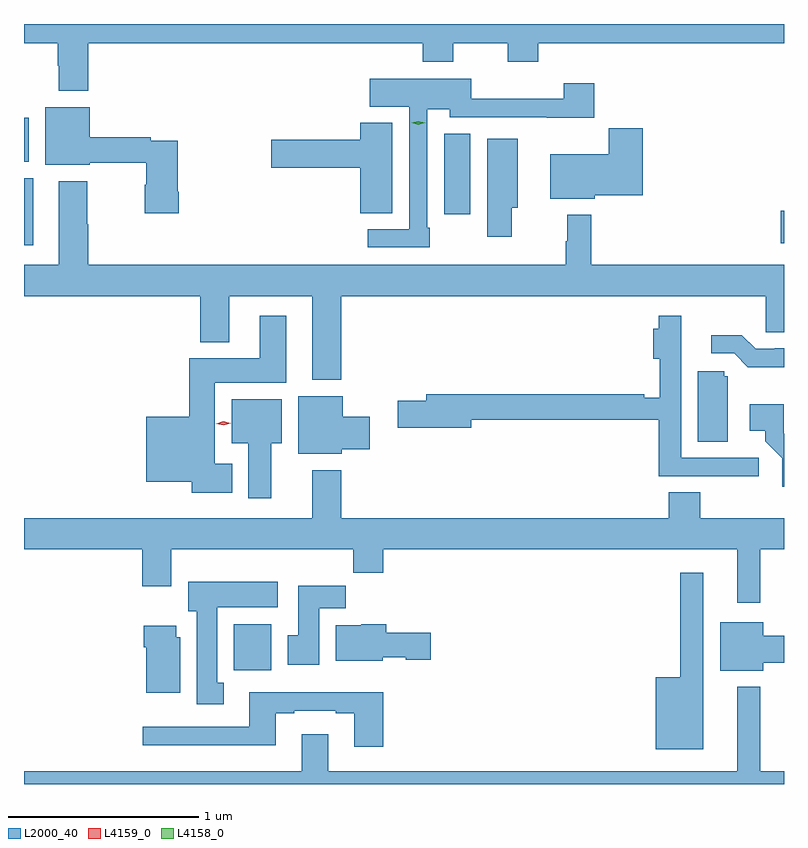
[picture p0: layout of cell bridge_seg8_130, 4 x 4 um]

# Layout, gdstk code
import gdstk
lib = gdstk.Library(unit=1e-6, precision=1e-09)
def R(c, l, rs):  # rectangles x0, y0, x1, y1
    for r in rs: c.add(gdstk.rectangle(r[:2], r[2:], *l))
def P(c, l, *ps):  # polygons
    for p in ps: c.add(gdstk.Polygon(p, *l))
L2000_40 = (2000, 40)
L4158_0 = (4158, 0)
L4159_0 = (4159, 0)

bridge_seg8_130 = lib.new_cell('bridge_seg8_130')
R(bridge_seg8_130, L2000_40, [(730.352,1095.884,730.549,1096.126), (729.247,1098.12,729.295,1098.472), (733.23,1098.131,733.247,1098.302), (731.459,1098.282,731.596,1098.707), (729.247,1098.56,729.271,1098.79)])
P(bridge_seg8_130, L2000_40, [(729.584,1099.184),(731.345,1099.184),(731.345,1099.085),(731.505,1099.085),(731.505,1099.184),(731.794,1099.184),(731.794,1099.085),(731.954,1099.085),(731.954,1099.184),(733.247,1099.184),(733.247,1099.284),(729.247,1099.284),(729.247,1099.184),(729.424,1099.184),(729.424,1099.064),(729.431,1099.064),(729.431,1098.932),(729.584,1098.932)],
  [(731.383,1098.211),(731.37,1098.211),(731.37,1098.836),(731.489,1098.836),(731.489,1098.792),(731.999,1098.792),(731.999,1098.791),(732.248,1098.791),(732.248,1098.973),(732.088,1098.973),(732.088,1098.89),(731.602,1098.89),(731.602,1098.997),(731.067,1098.997),(731.067,1098.848),(731.274,1098.848),(731.274,1098.204),(731.055,1098.204),(731.055,1098.108),(731.383,1098.108)],
  [(730.061,1098.4),(730.056,1098.4),(730.056,1098.669),(729.914,1098.669),(729.914,1098.689),(729.592,1098.689),(729.592,1098.847),(729.359,1098.847),(729.359,1098.542),(729.592,1098.542),(729.592,1098.553),(729.89,1098.553),(729.89,1098.438),(729.883,1098.438),(729.883,1098.288),(730.061,1098.288)],
  [(731.185,1098.763),(731.018,1098.763),(731.018,1098.674),(730.548,1098.674),(730.548,1098.527),(731.018,1098.527),(731.018,1098.289),(731.185,1098.289)],
  [(732.252,1098.383),(732.503,1098.383),(732.503,1098.736),(732.325,1098.736),(732.325,1098.598),(732.017,1098.598),(732.017,1098.365),(732.252,1098.365)],
  [(731.814,1098.317),(731.845,1098.317),(731.845,1098.679),(731.684,1098.679),(731.684,1098.165),(731.814,1098.165)],
  [(730.175,1097.609),(730.327,1097.609),(730.327,1097.852),(730.763,1097.852),(730.763,1097.411),(730.916,1097.411),(730.916,1097.852),(733.152,1097.852),(733.152,1097.662),(733.247,1097.662),(733.247,1098.016),(732.233,1098.016),(732.233,1098.28),(732.105,1098.28),(732.105,1098.14),(732.097,1098.14),(732.097,1098.016),(729.584,1098.016),(729.584,1098.231),(729.579,1098.231),(729.579,1098.457),(729.431,1098.457),(729.431,1098.016),(729.247,1098.016),(729.247,1097.852),(730.175,1097.852)],
  [(733.114,1097.001),(732.705,1097.001),(732.705,1097.526),(732.706,1097.526),(732.706,1097.749),(732.589,1097.749),(732.589,1097.68),(732.56,1097.68),(732.56,1097.522),(732.593,1097.522),(732.593,1097.318),(732.512,1097.318),(732.512,1097.336),(731.363,1097.336),(731.363,1097.3),(731.214,1097.3),(731.214,1097.158),(731.602,1097.158),(731.602,1097.2),(732.589,1097.2),(732.589,1096.905),(732.889,1096.905),(732.889,1096.903),(733.114,1096.903)],
  [(730.342,1096.969),(730.252,1096.969),(730.252,1097.396),(730.627,1097.396),(730.627,1097.749),(730.487,1097.749),(730.487,1097.524),(730.118,1097.524),(730.118,1097.218),(729.89,1097.218),(729.89,1096.874),(730.13,1096.874),(730.13,1096.817),(730.342,1096.817)],
  [(733.156,1097.478),(733.247,1097.478),(733.247,1097.577),(733.198,1097.577),(733.198,1097.574),(733.098,1097.574),(733.025,1097.647),(732.864,1097.647),(732.864,1097.55),(732.984,1097.55),(733.057,1097.477),(733.156,1097.477)],
  [(732.952,1097.43),(732.933,1097.43),(732.933,1097.457),(732.794,1097.457),(732.794,1097.086),(732.952,1097.086)],
  [(730.92,1097.045),(731.068,1097.045),(731.068,1097.216),(730.924,1097.216),(730.924,1097.326),(730.691,1097.326),(730.691,1097.021),(730.92,1097.021)],
  [(730.549,1097.078),(730.603,1097.078),(730.603,1097.308),(730.34,1097.308),(730.34,1097.078),(730.427,1097.078),(730.427,1096.788),(730.549,1096.788)],
  [(733.247,1097.127),(733.245,1097.129),(733.245,1097.284),(733.068,1097.284),(733.068,1097.144),(733.148,1097.144),(733.148,1097.089),(733.239,1096.999),(733.239,1096.848),(733.247,1096.848)],
  [(733.123,1096.52),(733.247,1096.52),(733.247,1096.684),(732.806,1096.684),(732.806,1096.82),(732.641,1096.82),(732.641,1096.684),(730.916,1096.684),(730.916,1096.936),(730.763,1096.936),(730.763,1096.684),(729.247,1096.684),(729.247,1096.52),(729.869,1096.52),(729.869,1096.326),(730.021,1096.326),(730.021,1096.52),(730.981,1096.52),(730.981,1096.396),(731.138,1096.396),(731.138,1096.52),(733.001,1096.52),(733.001,1096.239),(733.123,1096.239)],
  [(732.823,1096.396),(732.702,1096.396),(732.702,1095.847),(732.572,1095.847),(732.572,1095.467),(732.823,1095.467)],
  [(730.297,1095.818),(730.264,1095.818),(730.264,1096.214),(730.582,1096.214),(730.582,1096.348),(730.112,1096.348),(730.112,1096.194),(730.157,1096.194),(730.157,1095.705),(730.297,1095.705)],
  [(730.801,1096.208),(730.94,1096.208),(730.94,1096.327),(730.691,1096.327),(730.691,1096.068),(730.634,1096.068),(730.634,1095.912),(730.801,1095.912)],
  [(733.138,1095.923),(733.247,1095.923),(733.247,1096.065),(733.138,1096.065),(733.138,1096.135),(732.911,1096.135),(732.911,1095.881),(733.138,1095.881)],
  [(731.136,1095.95),(731.256,1095.95),(731.256,1095.938),(731.389,1095.938),(731.389,1096.08),(731.153,1096.08),(731.153,1096.126),(731.022,1096.126),(731.022,1096.12),(730.889,1096.12),(730.889,1095.932),(731.136,1095.932)],
  [(730.069,1096.056),(730.048,1096.056),(730.048,1096.117),(729.878,1096.117),(729.878,1096.004),(729.89,1096.004),(729.89,1095.764),(730.069,1095.764)],
  [(733.247,1095.352),(733.123,1095.352),(733.123,1095.796),(733.001,1095.796),(733.001,1095.352),(730.849,1095.352),(730.849,1095.547),(730.709,1095.547),(730.709,1095.352),(729.247,1095.352),(729.247,1095.284),(733.247,1095.284)],
  [(731.138,1095.766),(730.433,1095.766),(730.433,1095.585),(729.873,1095.585),(729.873,1095.488),(730.573,1095.488),(730.573,1095.657),(730.669,1095.657),(730.669,1095.669),(730.889,1095.669),(730.889,1095.657),(730.985,1095.657),(730.985,1095.48),(731.138,1095.48)])
P(bridge_seg8_130, L4158_0, [(731.323,1098.753),(731.288,1098.763),(731.288,1098.763),(731.288,1098.763),(731.323,1098.773),(731.357,1098.763),(731.358,1098.763),(731.357,1098.763)])
P(bridge_seg8_130, L4159_0, [(730.297,1097.172),(730.258,1097.181),(730.258,1097.181),(730.258,1097.181),(730.296,1097.192),(730.335,1097.184),(730.335,1097.184),(730.335,1097.184)])

lib.write_gds('bridge_seg8_130.gds')
